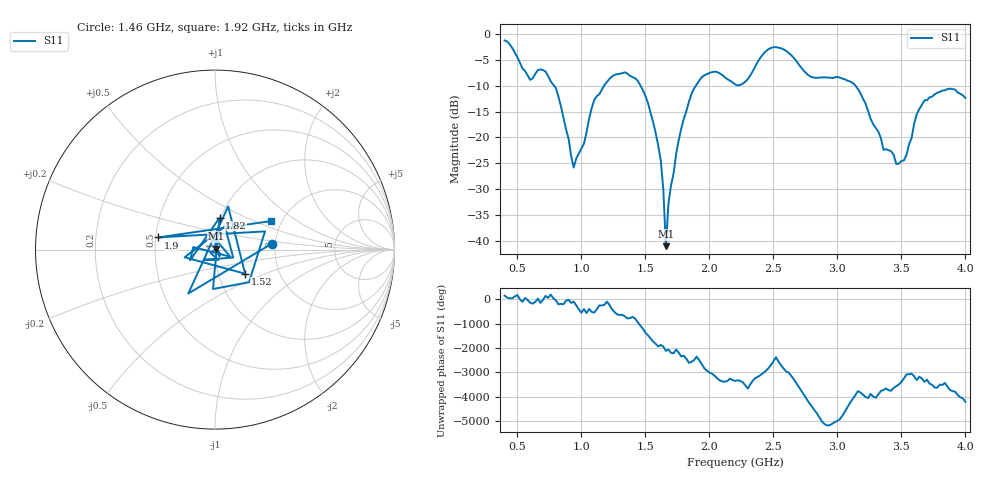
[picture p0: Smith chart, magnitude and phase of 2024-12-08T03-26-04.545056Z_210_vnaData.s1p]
!Created with skrf (http://scikit-rf.org).
# Hz S RI R 50.0
!freq ReS11 ImS11
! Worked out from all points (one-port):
!   181 points, 400 MHz to 4 GHz, reference 50 ohm
!   lowest |S11| = -40.9 dB at 1.66 GHz (marker M1), VSWR 1.02, Z = 50.7 + j0.604 ohm
!   |S11| at or under -10 dB: 785.4 MHz to 1.178 GHz (392.4 MHz wide, 40 % of centre); 1.462 GHz to 1.895 GHz (433.5 MHz wide, 25.8 % of centre); 3.141 GHz to end of sweep
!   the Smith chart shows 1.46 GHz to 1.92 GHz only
!   S11 on the Smith chart (normalised r, x): 1.46 GHz: 1.92, +0.14; 1.52 GHz: 1.34, -0.38; 1.82 GHz: 0.99, +0.36; 1.9 GHz: 0.52, +0.08; 1.92 GHz: 1.76, +0.64
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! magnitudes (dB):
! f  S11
! 400 MHz  -1.3
! 600 MHz  -8.9
! 720 MHz  -7.3
! 860 MHz  -16.2
! 940 MHz  -25.8
! 1.1 GHz  -12.8
! 1.3 GHz  -7.7
! 1.46 GHz  -9.9
! 1.52 GHz  -13.4
! 1.62 GHz  -24.4
! 1.64 GHz  -30.0
! 1.66 GHz  -40.9
! 1.68 GHz  -32.8
! 1.76 GHz  -20.6
! 1.82 GHz  -14.9
! 1.9 GHz  -9.8
! 1.92 GHz  -9.1
! 2.04 GHz  -7.3
! 2.2 GHz  -9.8
! 2.48 GHz  -2.8
! 2.66 GHz  -4.7
! 2.8 GHz  -8.4
! 3.1 GHz  -9.2
! 3.46 GHz  -25.1
! 3.56 GHz  -21.3
! 3.68 GHz  -12.9
! 3.88 GHz  -10.6
! 4 GHz  -12.4
